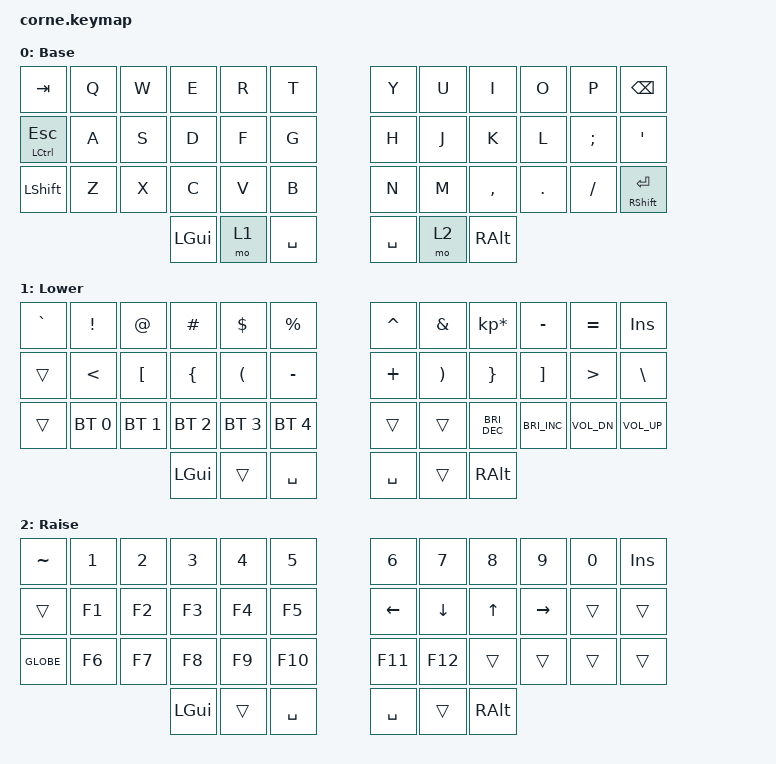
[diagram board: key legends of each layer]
/*
 * Copyright (c) 2020 The ZMK Contributors
 *
 * SPDX-License-Identifier: MIT
 */

#include <behaviors.dtsi>
#include <dt-bindings/zmk/keys.h>
#include <dt-bindings/zmk/bt.h>

/ {
        keymap {
                compatible = "zmk,keymap";

                default_layer {
// -----------------------------------------------------------------------------------------
// | TAB        |  Q  |  W  |  E  |  R  |  T  |   |  Y  |  U   |  I  |  O  |  P  | BKSP       |
// | ESC / CTRL |  A  |  S  |  D  |  F  |  G  |   |  H  |  J   |  K  |  L  |  ;  | '          |
// | SHFT       |  Z  |  X  |  C  |  V  |  B  |   |  N  |  M   |  ,  |  .  |  /  | ENT / SHFT |
//                          | CMD | LWR | SPC |   | SPC | RSE  | OPT |
                        display-name = "Base";
                        bindings = <
   &kp TAB       &kp Q &kp W &kp E    &kp R &kp T       &kp Y     &kp U &kp I     &kp O   &kp P    &kp BSPC
   &mt LCTRL ESC &kp A &kp S &kp D    &kp F &kp G       &kp H     &kp J &kp K     &kp L   &kp SEMI &kp SQT
   &kp LSHFT     &kp Z &kp X &kp C    &kp V &kp B       &kp N     &kp M &kp COMMA &kp DOT &kp FSLH &mt RSHFT RET
                             &kp LGUI &mo 1 &kp SPACE   &kp SPACE &mo 2 &kp RALT
                        >;
                };
                lower_layer {
// -----------------------------------------------------------------------------------------
// |  `  |  !  |  @  |  #  |  $  |  %  |   |  ^  |  &  |    *    |    -    |    =   |   INS    |
// |     |  <  |  [  |  {  |  (  |  -  |   |  +  |  )  |    }    |    ]    |    >   |    \     |
// |     | BT0 | BT1 | BT2 | BT3 | BT4 |   |     |     | BRI DEC | BRI INC | VOL UP | VOL DOWN |
//                   | CMD |     | SPC |   | SPC |     |   OPT   |
                        display-name = "Lower";
                        bindings = <
   &kp GRAVE  &kp EXCL     &kp AT       &kp HASH     &kp DLLR     &kp PRCNT      &kp CARET &kp AMPS &kp KP_MULTIPLY &kp MINUS      &kp EQUAL      &kp INS
   &trans     &kp LT       &kp LBKT     &kp LBRC     &kp LPAR     &kp MINUS      &kp PLUS  &kp RPAR &kp RBRC        &kp RBKT       &kp GT         &kp BSLH
   &trans     &bt BT_SEL 0 &bt BT_SEL 1 &bt BT_SEL 2 &bt BT_SEL 3 &bt BT_SEL 4   &trans    &trans   &kp C_BRI_DEC   &kp C_BRI_INC  &kp C_VOL_DN &kp C_VOL_UP
                          	            &kp LGUI     &trans       &kp SPACE      &kp SPACE &trans   &kp RALT
                        >;
                };

                raise_layer {
// -----------------------------------------------------------------------------------------
// |  ~    |  1  |  2  |  3  |  4  |  5  |   |  6  |  7  |  8  |  9  |  0  | INS |
// |       | F1  | F2  | F3  | F4  | F5  |   | LFT | DWN |  UP | RGT |     |     |
// | EMOJI | F6  | F7  | F8  | F9  | F10 |   | F11 | F12 |     |     |     |     |
//                     | CMD |     | SPC |   | SPC |     | OPT |
                        display-name = "Raise";
                        bindings = <
   &kp TILDE &kp N1 &kp N2 &kp N3   &kp N4 &kp N5      &kp N6    &kp N7    &kp N8 &kp N9    &kp N0 &kp INS
   &trans    &kp F1 &kp F2 &kp F3   &kp F4 &kp F5      &kp LEFT  &kp DOWN  &kp UP &kp RIGHT &trans &trans
   &kp GLOBE &kp F6 &kp F7 &kp F8   &kp F9 &kp F10     &kp F11   &kp F12   &trans &trans    &trans &trans
                    	   &kp LGUI &trans &kp SPACE   &kp SPACE &trans    &kp RALT
                        >;
                };
        };
};
